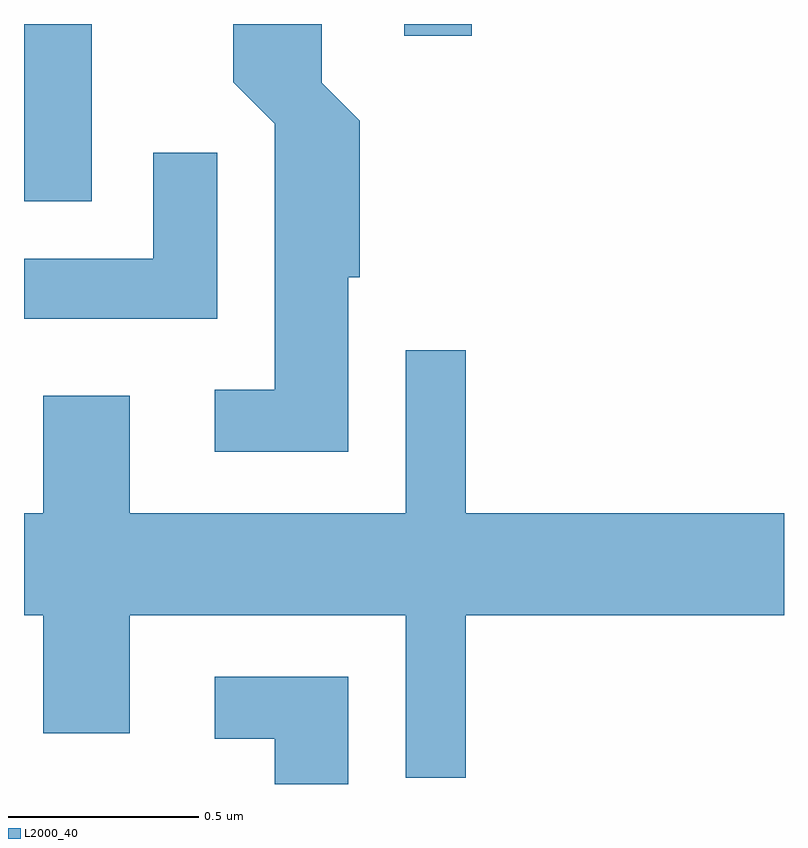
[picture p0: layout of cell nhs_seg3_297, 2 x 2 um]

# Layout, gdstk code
import gdstk
lib = gdstk.Library(unit=1e-6, precision=1e-09)
def R(c, l, rs):  # rectangles x0, y0, x1, y1
    for r in rs: c.add(gdstk.rectangle(r[:2], r[2:], *l))
def P(c, l, *ps):  # polygons
    for p in ps: c.add(gdstk.Polygon(p, *l))
L2000_40 = (2000, 40)

nhs_seg3_297 = lib.new_cell('nhs_seg3_297')
R(nhs_seg3_297, L2000_40, [(187.611,1140.426,187.789,1140.892), (188.611,1140.861,188.789,1140.892)])
P(nhs_seg3_297, L2000_40, [(188.464,1140.226),(188.494,1140.226),(188.494,1140.637),(188.394,1140.737),(188.394,1140.892),(188.161,1140.892),(188.161,1140.739),(188.271,1140.629),(188.271,1139.929),(188.113,1139.929),(188.113,1139.766),(188.464,1139.766)],
  [(188.119,1140.553),(187.951,1140.553),(187.951,1140.274),(187.611,1140.274),(187.611,1140.116),(188.119,1140.116)],
  [(188.774,1139.336),(189.611,1139.336),(189.611,1139.604),(188.774,1139.604),(188.774,1140.033),(188.616,1140.033),(188.616,1139.604),(187.889,1139.604),(187.889,1139.914),(187.661,1139.914),(187.661,1139.604),(187.611,1139.604),(187.611,1139.336),(187.661,1139.336),(187.661,1139.026),(187.889,1139.026),(187.889,1139.336),(188.616,1139.336),(188.616,1138.908),(188.774,1138.908)],
  [(188.464,1139.174),(188.113,1139.174),(188.113,1139.011),(188.271,1139.011),(188.271,1138.892),(188.464,1138.892)])

lib.write_gds('nhs_seg3_297.gds')
